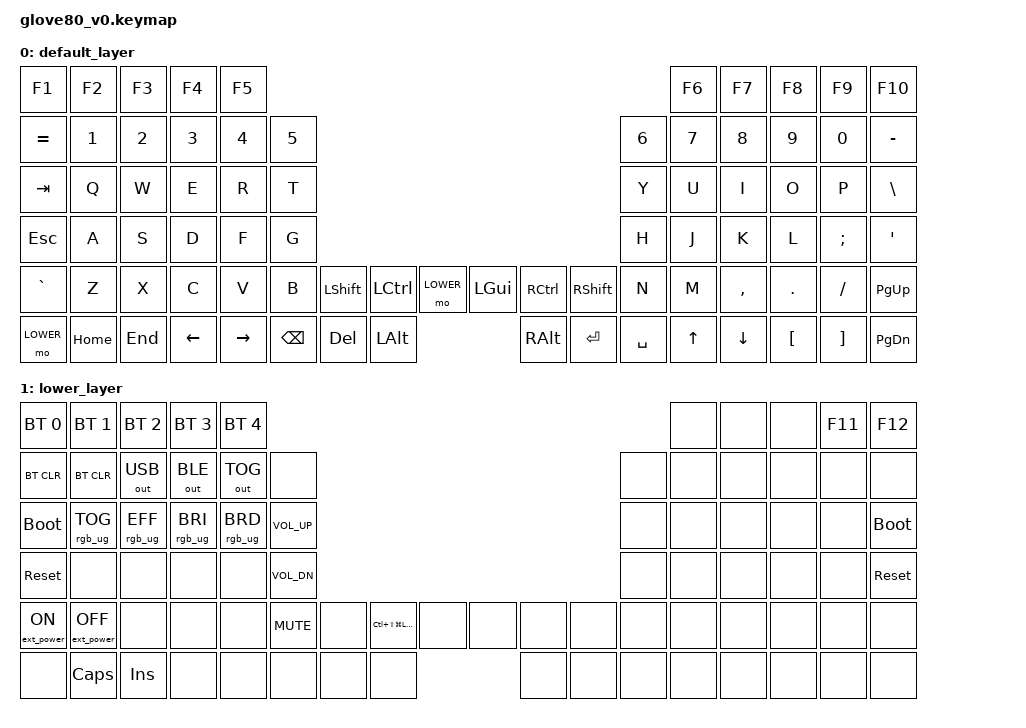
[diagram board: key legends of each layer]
/*
 * Copyright (c) 2020 The ZMK Contributors
 *
 * SPDX-License-Identifier: MIT
 */

#include <behaviors.dtsi>
#include <dt-bindings/zmk/keys.h>
#include <dt-bindings/zmk/bt.h>
#include <dt-bindings/zmk/ext_power.h>
#include <dt-bindings/zmk/outputs.h>
#include <dt-bindings/zmk/rgb.h>

#define HYPER LC(LS(LG(LALT)))

// layers
#define DEFAULT 0
#define LOWER 1

/ {
    keymap {
      compatible = "zmk,keymap";

      default_layer {
        // ---------------------------------------------------------------------------------------------------------------------------------
        // |  F1   |  F2 |  F3 |  F4  |  F5  |                                                               |  F6   |  F7   |  F8  |   F9  |  F10 |
        // |  =    |  1  |  2  |  3   |  4   |  5   |                                                 |  6   |   7   |   8   |  9   |   0   |   -  |
        // |  TAB  |  Q  |  W  |  E   |  R   |  T   |                                                 |  Y   |   U   |   I   |  O   |   P   |   \  |
        // |  ESC  |  A  |  S  |  D   |  F   |  G   |                                                 |  H   |   J   |   K   |  L   |   ;   |   '  |
        // |   `   |  Z  |  X  |  C   |  V   |  B   | LSHFT | LCTRL | LOWER | | LGUI  | RCTRL | RSHFT |  N   |   M   |   ,   |  .   |   /   | PGUP |
        // | MAGIC | HOME| END | LEFT | RIGHT|      | BSPC  | DEL   | LALT  | | RALT  | RET   | SPACE |      |  UP   | DOWN  |  [   |   ]   | PGDN |


        // MAGIC is currently bound to the same as LAYER - these will be fixed later
        bindings = <
          &kp F1      &kp F2      &kp F3      &kp F4      &kp F5                                                                                         &kp F6  &kp F7      &kp F8      &kp F9      &kp F10
          &kp EQUAL   &kp N1      &kp N2      &kp N3      &kp N4      &kp N5                                                                     &kp N6  &kp N7  &kp N8      &kp N9      &kp N0      &kp MINUS
          &kp TAB     &kp Q       &kp W       &kp E       &kp R       &kp T                                                                      &kp Y   &kp U   &kp I       &kp O       &kp P       &kp BSLH
          &kp ESC     &kp A       &kp S       &kp D       &kp F       &kp G                                                                      &kp H   &kp J   &kp K       &kp L       &kp SEMI    &kp SQT
          &kp GRAVE   &kp Z       &kp X       &kp C       &kp V       &kp B   &kp LSHFT   &kp LCTRL   &mo LOWER  &kp LGUI  &kp RCTRL &kp RSHFT   &kp N   &kp M   &kp COMMA   &kp DOT     &kp FSLH    &kp PG_UP
          &mo LOWER   &kp HOME    &kp END     &kp LEFT    &kp RIGHT           &kp BSPC    &kp DEL     &kp LALT   &kp RALT  &kp RET  &kp SPACE            &kp UP  &kp DOWN    &kp LBKT    &kp RBKT    &kp PG_DN
          >;
      };

      lower_layer {
        bindings = <
          &bt BT_SEL 0      &bt BT_SEL 1        &bt BT_SEL 2    &bt BT_SEL 3    &bt BT_SEL 4                                                                                                         &none        &none        &none        &kp F11      &kp F12
          &bt BT_CLR        &bt BT_CLR          &out OUT_USB    &out OUT_BLE    &out OUT_TOG    &none                                                                                   &none        &none        &none        &none        &none        &none
          &bootloader       &rgb_ug RGB_TOG     &rgb_ug RGB_EFF &rgb_ug RGB_BRI &rgb_ug RGB_BRD &kp K_VOL_UP                                                                            &none        &none        &none        &none        &none        &bootloader
          &sys_reset        &none               &none           &none           &none           &kp K_VOL_DN                                                                            &none        &none        &none        &none        &none        &sys_reset
          &ext_power EP_ON  &ext_power EP_OFF   &none           &none           &none           &kp K_MUTE      &none       &kp HYPER   &none       &none       &none       &none       &none        &none        &none        &none        &none        &none
          &none             &kp CAPS            &kp INS         &none           &none                           &none       &none       &none       &none       &none       &none                    &none        &none        &none        &none        &none
          >;
      };
    };
};
